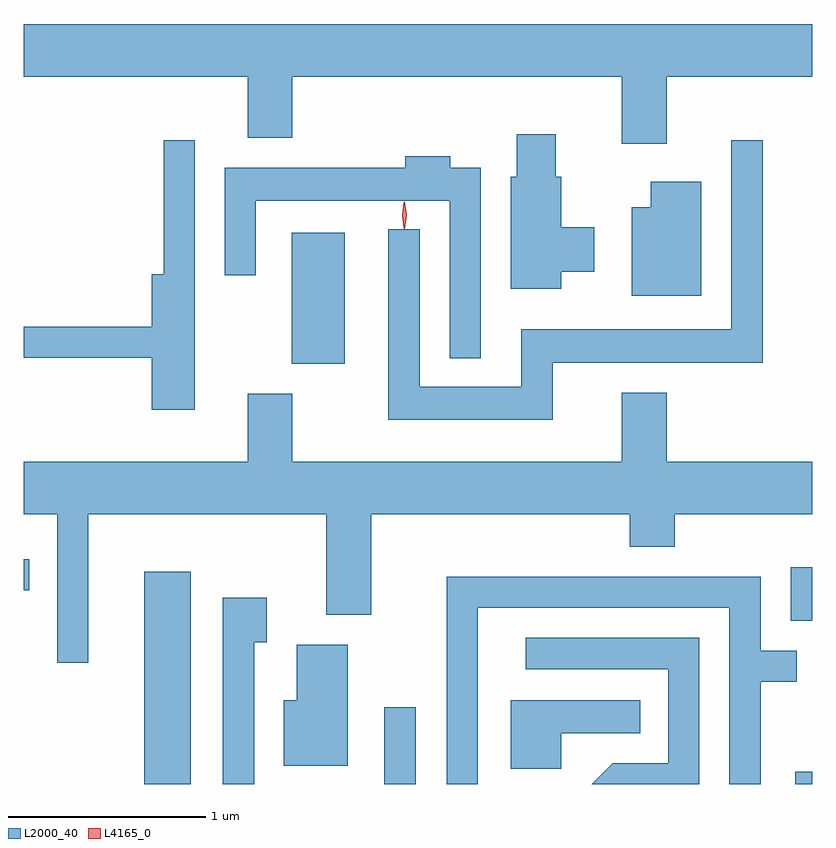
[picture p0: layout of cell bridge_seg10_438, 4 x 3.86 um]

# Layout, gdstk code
import gdstk
lib = gdstk.Library(unit=1e-6, precision=1e-09)
def R(c, l, rs):  # rectangles x0, y0, x1, y1
    for r in rs: c.add(gdstk.rectangle(r[:2], r[2:], *l))
def P(c, l, *ps):  # polygons
    for p in ps: c.add(gdstk.Polygon(p, *l))
L2000_40 = (2000, 40)
L4165_0 = (4165, 0)

bridge_seg10_438 = lib.new_cell('bridge_seg10_438')
R(bridge_seg10_438, L2000_40, [(1441.436,2099.228,1441.674,2100.304), (1442.656,2099.228,1442.814,2099.618), (1444.741,2099.228,1444.826,2099.289), (1444.716,2100.056,1444.826,2100.328), (1440.826,2100.211,1440.853,2100.369), (1442.186,2101.361,1442.454,2102.024)])
P(bridge_seg10_438, L2000_40, [(1444.089,2102.816),(1444.826,2102.816),(1444.826,2103.084),(1440.826,2103.084),(1440.826,2102.816),(1441.961,2102.816),(1441.961,2102.506),(1442.189,2102.506),(1442.189,2102.816),(1443.861,2102.816),(1443.861,2102.476),(1444.089,2102.476)],
  [(1443.554,2101.826),(1443.719,2101.826),(1443.719,2102.054),(1443.554,2102.054),(1443.554,2102.309),(1443.524,2102.309),(1443.524,2102.524),(1443.326,2102.524),(1443.326,2102.309),(1443.296,2102.309),(1443.296,2101.741),(1443.554,2101.741)],
  [(1443.509,2101.366),(1444.574,2101.366),(1444.574,2102.493),(1444.416,2102.493),(1444.416,2101.534),(1443.351,2101.534),(1443.351,2101.244),(1442.834,2101.244),(1442.834,2102.043),(1442.676,2102.043),(1442.676,2101.076),(1443.509,2101.076)],
  [(1441.694,2102.493),(1441.536,2102.493),(1441.536,2101.814),(1441.476,2101.814),(1441.476,2101.549),(1440.826,2101.549),(1440.826,2101.391),(1441.476,2101.391),(1441.476,2101.126),(1441.694,2101.126)],
  [(1443.144,2102.354),(1442.989,2102.354),(1442.989,2102.414),(1442.761,2102.414),(1442.761,2102.354),(1441.846,2102.354),(1441.846,2101.808),(1442.004,2101.808),(1442.004,2102.186),(1442.986,2102.186),(1442.986,2101.388),(1443.144,2101.388)],
  [(1444.264,2102.284),(1444.006,2102.284),(1444.006,2102.154),(1443.911,2102.154),(1443.911,2101.706),(1444.264,2101.706)],
  [(1441.154,2100.596),(1442.361,2100.596),(1442.361,2100.086),(1442.589,2100.086),(1442.589,2100.596),(1443.901,2100.596),(1443.901,2100.431),(1444.129,2100.431),(1444.129,2100.596),(1444.826,2100.596),(1444.826,2100.864),(1444.089,2100.864),(1444.089,2101.214),(1443.861,2101.214),(1443.861,2100.864),(1442.189,2100.864),(1442.189,2101.209),(1441.961,2101.209),(1441.961,2100.864),(1440.826,2100.864),(1440.826,2100.596),(1440.996,2100.596),(1440.996,2099.843),(1441.154,2099.843)],
  [(1443.129,2100.121),(1444.406,2100.121),(1444.406,2099.228),(1444.564,2099.228),(1444.564,2099.746),(1444.748,2099.746),(1444.748,2099.904),(1444.564,2099.904),(1444.564,2100.279),(1442.971,2100.279),(1442.971,2099.228),(1443.129,2099.228)],
  [(1441.994,2099.946),(1442.059,2099.946),(1442.059,2100.174),(1441.836,2100.174),(1441.836,2099.228),(1441.994,2099.228)],
  [(1444.254,2099.969),(1443.373,2099.969),(1443.373,2099.811),(1444.096,2099.811),(1444.096,2099.334),(1443.814,2099.334),(1443.708,2099.228),(1444.254,2099.228)],
  [(1442.469,2099.934),(1442.211,2099.934),(1442.211,2099.654),(1442.146,2099.654),(1442.146,2099.321),(1442.469,2099.321)],
  [(1443.554,2099.486),(1443.953,2099.486),(1443.953,2099.654),(1443.296,2099.654),(1443.296,2099.306),(1443.554,2099.306)])
P(bridge_seg10_438, L4165_0, [(1442.754,2102.047),(1442.745,2102.114),(1442.754,2102.18),(1442.755,2102.18),(1442.755,2102.18),(1442.765,2102.114),(1442.755,2102.047),(1442.755,2102.047)],
  [(1442.759,2102.044),(1442.75,2102.113),(1442.759,2102.182),(1442.76,2102.183),(1442.76,2102.182),(1442.77,2102.113),(1442.76,2102.044),(1442.76,2102.044)])

lib.write_gds('bridge_seg10_438.gds')
